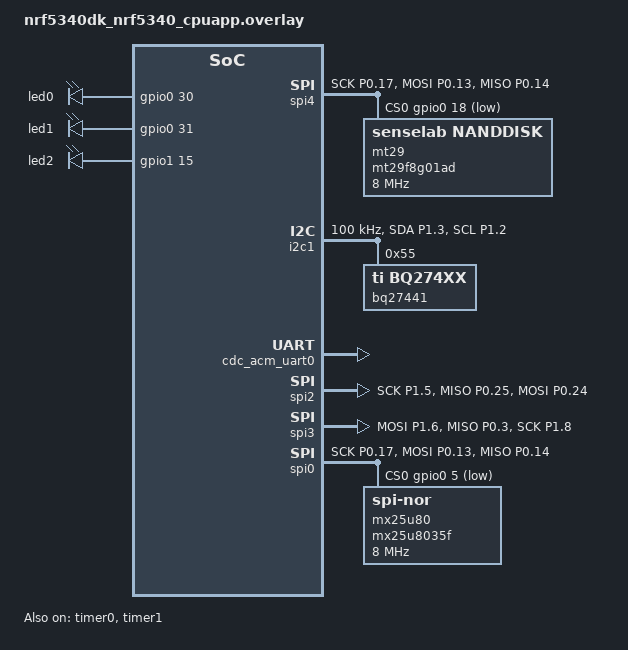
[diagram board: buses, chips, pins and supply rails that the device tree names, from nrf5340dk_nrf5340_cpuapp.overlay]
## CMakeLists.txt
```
# SPDX-License-Identifier: Apache-2.0

# This is a general purpose project created from MotionSenseHRV to be used for data collection.

# Ohio State SENSE LAB
cmake_minimum_required(VERSION 3.20.0)

list(APPEND ZEPHYR_EXTRA_MODULES ${CMAKE_CURRENT_SOURCE_DIR}/src/drivers)


find_package(Zephyr REQUIRED HINTS $ENV{ZEPHYR_BASE})
project(MotionSenseHrv)

set(CMAKE_OBJECT_PATH_MAX 380)
if((NOT CONFIG_DISK_DRIVER_FLASH) AND
   (NOT CONFIG_DISK_DRIVER_RAM) AND
   (NOT CONFIG_DISK_DRIVER_SDMMC))
	message(WARNING "No disk access settings detected." )
endif()
#
#we previously used GLOB_RECURSE, but that was deprecated since we want to have control over what code is included.
FILE(GLOB_RECURSE app_sources src/*.cc)
FILE(GLOB c_app_sources src/*.c)

target_compile_options(app PRIVATE -Wno-unused-function)
#eventually, remove the induvidual file in target_sources, and just refactor to move zephyr filesystem out.
#OR Keep Global Recuse on.
# also move the drivers over to a seperate folder.
target_sources(app PRIVATE ${app_sources} 
${c_app_sources} )

#if(CONFIG_BUILD_WITH_TFM)
#  target_include_directories(app PRIVATE
#    $<TARGET_PROPERTY:tfm,TFM_BINARY_DIR>/install/interface/include
#  )
#endif()
```

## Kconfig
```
# Copyright (c) 2019-2020 Nordic Semiconductor ASA
# SPDX-License-Identifier: Apache-2.0

config APP_WIPE_STORAGE
	bool "Option to clear the flash area before mounting"
	help
	  Use this to force an existing file system to be created.

choice
	prompt "Storage and file system type used by the application"
	default APP_MSC_STORAGE_NONE
	help
	  Specify the type of storage and file system.

config APP_MSC_STORAGE_NONE
	bool "Use RAM disk as block device"
	imply DISK_DRIVER_RAM

config APP_MSC_STORAGE_RAM
	bool "Use RAM disk and FAT file system"
	imply DISK_DRIVER_RAM
	imply FILE_SYSTEM
	imply FAT_FILESYSTEM_ELM

config APP_MSC_STORAGE_FLASH_FATFS
	bool "Use FLASH disk and FAT file system"
	imply DISK_DRIVER_FLASH
	imply FILE_SYSTEM
	imply FAT_FILESYSTEM_ELM

config APP_MSC_STORAGE_FLASH_LITTLEFS
	bool "Use FLASH disk and LittleFS"
	imply DISK_DRIVER_FLASH
	imply FILE_SYSTEM
	imply FILE_SYSTEM_LITTLEFS

config APP_MSC_STORAGE_SDCARD
	bool "Use SDHC and FAT file system"
	imply DISK_DRIVER_SDMMC
	imply FILE_SYSTEM
	imply FAT_FILESYSTEM_ELM

endchoice


config MASS_STORAGE_DISK_NAME
	default "MX25R64" if DISK_DRIVER_FLASH
	default "RAM" if DISK_DRIVER_RAM
	default "SD" if DISK_DRIVER_SDMMC

if DISK_DRIVER_FLASH

config FLASH_MAP
	default y

config FLASH_PAGE_LAYOUT
	default y

config FLASH_LOG_LEVEL
	default 3

if NORDIC_QSPI_NOR

config NORDIC_QSPI_NOR_FLASH_LAYOUT_PAGE_SIZE
	default 4096

endif # NORDIC_QSPI_NOR

endif # DISK_DRIVER_FLASH

config MSENSE3_BLUETOOTH_DATA_UPDATES
	bool "Use MotionSenseHRV3Updates"
	default n
	help 
		Enables the Previous MSense3 mode of data collection, which starts collection as soon as the device connects to usb
		and sends data all through bluetooth
		


menuconfig COLLECTION_REQUIRES_DATE_ID
	bool "Allows sensor collection only if the date time and id characteristics have been filled out by the central."
	default n


config USB_ALWAYS_ON
	bool "whether the usb mass storage driver is on during bluetooth collection"
	default n
	help
		Normally, when data collection starts the USB module turns off, preventing the user from being able to read the drive 
		while data collection is taking place. This KConfig disables this, allowing users to always see logs

config USB_WRITABLE
	bool "whether one can write or modify files via USB"
	default n
	help 
		If the device is plugged in via USB and this KConfig is not set, Users will not be able to create or write new files
		(they can still read them).
		for this to truly work, we must be using a file system driver that supports reading and writing, 
		like flash area (NOR) or dhara (NAND)

config MSENSE_FS_ENCRYPTION
	bool "Encrypt file system data with hardware AES (CryptoCell-312, src/fs_crypt.c)"
	default n
	# AES on the CryptoCell-312 through PSA. Bluetooth keeps using TinyCrypt.
	select NRF_SECURITY
	select MBEDTLS_PSA_CRYPTO_C
	select PSA_CRYPTO_DRIVER_CC3XX
	select PSA_WANT_KEY_TYPE_AES
	select PSA_WANT_AES_KEY_SIZE_128
	select PSA_WANT_ALG_ECB_NO_PADDING
	# psa_crypto_init() also brings up the random number generator
	select PSA_WANT_GENERATE_RANDOM
	select MBEDTLS_ENABLE_HEAP
	help
		Builds src/fs_crypt.c, loads the file system encryption key and self-tests the
		crypto hardware at boot. Off by default while the encryption work is in
		progress, so none of the crypto stack is built unless this is set.

# select can't turn a symbol off or set a number, so these two only change the
# default when encryption is on. This file is read before Zephyr's Kconfig, so its
# defaults take priority; prj.conf can still override them.
config PSA_CRYPTO_DRIVER_OBERON
	default n if MSENSE_FS_ENCRYPTION

config MBEDTLS_HEAP_SIZE
	default 8192 if MSENSE_FS_ENCRYPTION

config MSENSE_USB_SECURITY
	bool "Configures USB security mode, which requires a password in order to enable to usb behavior. Not Currently Implemented."
	default n

config LOG_BACKEND_FS_BUFFER
    bool "file buffered log backend"
    depends on LOG
    select LOG_OUTPUT
    help
      When enabled, the double buffered filesystem backend (normally for ppg and accel) will be used for logging.


config LOG_LEVEL_IMU_COLLECTION
	int "level at which data from imu is printed in logs"
	default 3

config LOG_LEVEL_PPG_COLLECTION
	int "level at which data from ppg is printed in logs"
	default 3

source "Kconfig.zephyr"
```

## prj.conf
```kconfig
#CONFIG_NCS_SAMPLES_DEFAULTS=y

CONFIG_STDOUT_CONSOLE=y

# deprecated:
#CONFIG_CPLUSPLUS=y
#CONFIG_STD_CPP11=y
#CONFIG_NEWLIB_LIBC=y
#CONFIG_LIB_CPLUSPLUS=y

#CONFIG_DEBUG=n
CONFIG_DEBUG_OPTIMIZATIONS=n
#CONFIG_SIZE_OPTIMIZATIONS=y
#CONFIG_SPEED_OPTIMIZATIONS=y

# These KConfigs will dump the entire core into the logs. Useful for debugging a crash.
#CONFIG_DEBUG_COREDUMP=y
#CONFIG_DEBUG_COREDUMP_BACKEND_LOGGING=y
CONFIG_DEBUG_INFO=y
CONFIG_EXCEPTION_STACK_TRACE=y
CONFIG_RESET_ON_FATAL_ERROR=y

#Log config
CONFIG_LOG=y
CONFIG_LOG_DEFAULT_LEVEL=2
# LOG_MODE_MIMIMAL Processes logs in the thread that they are in.
CONFIG_LOG_MODE_MINIMAL=n
#CONFIG_LOG_MODE_DEFERRED=n
#CONFIG_LOG_MODE_IMMEDIATE=n
# this makes prink messages go through the LOG system.
CONFIG_LOG_PRINTK=y
# typically logging is seperate from printk, so this just let's printk output go to console.
CONFIG_PRINTK=y
CONFIG_LOG_MAX_LEVEL=4
# Additional Logging Settings
# this makes the logs have color according to their condition in the serial monitor or terminal.
# so, errors are red, and warnings are yellow.
# in the filesystem, you will need to have an ascii color text processor, otherwise you will see unknown characters and no colors.
CONFIG_LOG_BACKEND_SHOW_COLOR=y
# if we using the deffered log proessing, we have these options avalible:
# LOG_MODE_DEFFERED auto turns this on. deffered mode makes the logs go to a seperate thread instead, which we currently use.
CONFIG_LOG_PROCESS_THREAD=y
#CONFIG_LOG_PROCESS_THREAD_CUSTOM_PRIORITY=
# we need this since our usb takes a few seconds to initialize, and so we miss messages if we don't do a late log startup.
CONFIG_LOG_PROCESS_THREAD_STARTUP_DELAY_MS=8000
#CONFIG_LOG_PROCESS_TRIGGER_THRESHOLD=0
# THREAD_SLEEP_MS is how long the logging thread will periodically sleep after processing messages. 
CONFIG_LOG_PROCESS_THREAD_SLEEP_MS=4000
CONFIG_LOG_PROCESS_THREAD_STACK_SIZE=4096
CONFIG_LOG_BUFFER_SIZE=20000

# Custom Config we created to allow the usb to remain on even when data is collecting, so that we can see the logs. Without this we can't 
#see logs through USB.
CONFIG_USB_ALWAYS_ON=y

CONFIG_NRFX_RTC0=y

# The thread analyser is a cool logging tool that shows how full stacks are for running threads. It can be used to detect stack overflow errors.
CONFIG_THREAD_ANALYZER=y
CONFIG_THREAD_ANALYZER_USE_LOG=y
CONFIG_THREAD_ANALYZER_AUTO=y
CONFIG_THREAD_ANALYZER_AUTO_INTERVAL=10
CONFIG_THREAD_NAME=y
CONFIG_THREAD_MONITOR=y

# when working with the MSense Devices, the only debugging tool we have is the SEGGER_RTT and USB debug output. 
# We have a USB, but we have to set it up via CDC UART (CDC is a usb communication protocol) on device tree
# at the moment, it appears Segger RTT is required even for UART Console output.
CONFIG_USE_SEGGER_RTT=y
# LOG_BACKEND makes the logging avalible, while the CONSOLE option makes command output
CONFIG_LOG_BACKEND_RTT=y
CONFIG_RTT_CONSOLE=n
# Shell also allows commands to be sent
CONFIG_SHELL=n

#Outputs log through usb
CONFIG_LOG_BACKEND_UART=y
# same here, UART_CONSOLE allows commands to be sent while LOG_BACKEND_UART allows log messages to go out.
CONFIG_UART_CONSOLE=y

#CONFIG_RAM_CONSOLE=n

#CONFIG_LOG_BACKEND_FS=n
#CONFIG_LOG_BACKEND_FS_OUTPUT_CUSTOM=y

# Outputs log through USB
CONFIG_LOG_BACKEND_BLE=y
# Custom MSense File Uploading that uses the double buffer system (zephyrfilesystem.c) to output
CONFIG_LOG_BACKEND_FS_BUFFER=y

# Our MSense boards don't have a DCDC on them. This is necessary for the boards to function, or else they will brick!
#CONFIG_BOARD_ENABLE_DCDC_APP=n
#CONFIG_BOARD_ENABLE_DCDC_NET=n

# Clock Control. This KConfig Controls whether we use a Crystal (XTAL) or RC Oscilator.
CONFIG_CLOCK_CONTROL_NRF_K32SRC_RC=n
CONFIG_CLOCK_CONTROL_NRF_K32SRC_RC_CALIBRATION=n

CONFIG_CLOCK_CONTROL_NRF_K32SRC_XTAL=y

# LFXO bypass is for a rail-to-rail external clock source. This board uses
# the standard LFXO pin routing, so leave bypass disabled.
CONFIG_SOC_LFXO_BYPASS=n
CONFIG_SOC_LFXO_CAP_INT_9PF=y
CONFIG_SOC_HFXO_CAP_INTERNAL=y
CONFIG_SOC_HFXO_CAP_INT_VALUE_X2=25


#Gpio Config
CONFIG_GPIO=y

# On the 5340 dev kit, pins 0.02 and 0.03 are configured as pins for an NFC antenna. Since we are using those pins for ppg,
# we need to use this KConfig to make them behave like normal. Apparently setting it in device tree is not enough, we have to use this KConfig
CONFIG_NFCT_PINS_AS_GPIOS=y

# SPI Config
CONFIG_SPI=y
# we don't have any qspi periperals at the moment, everything is spi.
#CONFIG_NRFX_QSPI=y

#I2C config
CONFIG_I2C=y

# Generic Sensor Drivers that includes the battery monitor sensor.
CONFIG_SENSOR=y



# CMSIS config, which is a DSP and Math library
CONFIG_CMSIS_DSP=y
CONFIG_CMSIS_DSP_BASICMATH=y
CONFIG_CMSIS_DSP_COMPLEXMATH=n
CONFIG_CMSIS_DSP_CONTROLLER=n
CONFIG_CMSIS_DSP_DISTANCE=n
CONFIG_CMSIS_DSP_FASTMATH=y
CONFIG_CMSIS_DSP_FILTERING=y
CONFIG_CMSIS_DSP_MATRIX=y
CONFIG_CMSIS_DSP_STATISTICS=y
CONFIG_CMSIS_DSP_TRANSFORM=n
CONFIG_CMSIS_DSP_SUPPORT=y

# timer config
CONFIG_NRFX_TIMER0=y
CONFIG_NRFX_TIMER1=y

#FPU config
CONFIG_FPU=y
CONFIG_FP_HARDABI=y


# Library for buttons and LEDs
CONFIG_DK_LIBRARY=y



# Enable bluetooth and bonding
CONFIG_BT=y

#CONFIG_BT_BONDABLE=y
#CONFIG_BT_BONDING_REQUIRED=y


CONFIG_BT_DEVICE_APPEARANCE=833

CONFIG_BT_MAX_CONN=1



CONFIG_BT_PERIPHERAL=y
#CONFIG_BT_GAP_PERIPHERAL_PREF_PARAMS=y
# in BLE the host typically sets the minimum and maximum connection interval with which packets must be sent. 
# however, the client can still request preferred parameters and the host can decide if it wants to accept them.
CONFIG_BT_PERIPHERAL_PREF_MAX_INT=48
CONFIG_BT_PERIPHERAL_PREF_MIN_INT=24
CONFIG_BT_PERIPHERAL_PREF_LATENCY=3
# Units are 10 ms: 800 = 8 s, compliant with current Apple 6-18 s guidance (ADG section 55.6).
CONFIG_BT_PERIPHERAL_PREF_TIMEOUT=800
CONFIG_BT_DEVICE_NAME="MSense4PPG-"
CONFIG_BT_DEVICE_NAME_DYNAMIC=y
CONFIG_BT_DEVICE_NAME_MAX=16
CONFIG_BT_DEVICE_NAME_GATT_WRITABLE=n
CONFIG_HWINFO=y
CONFIG_CRC=y



#CONFIG_BT_CTLR=y
#CONFIG_BT_CTLR_TX_PWR_ANTENNA=-8
#CONFIG_BT_CTLR_TX_PWR_MINUS_40=y

# for now, we don't use security, but we can re-enable if we want it.
CONFIG_BT_SMP=n

# Enable device information service for bluetooth
CONFIG_BT_DIS=y
CONFIG_BT_DIS_MANUF="SenseLab"
CONFIG_BT_DIS_PNP=n
CONFIG_BT_DIS_MODEL="5.3.0 Utah Prod"
CONFIG_BT_DIS_SETTINGS=n
CONFIG_BT_MAX_PAIRED=1

# Enable Battery service settings
CONFIG_BT_BAS=y



 

# I belive we do this because the flash reset function has a lot of stack usage.
CONFIG_BT_RX_STACK_SIZE=8192



#DFU/FOTA settings
CONFIG_BOOTLOADER_MCUBOOT=y

CONFIG_NCS_SAMPLE_MCUMGR_BT_OTA_DFU=y
#CONFIG_MCUBOOT_GENERATE_CONFIRMED_IMAGE=y


#CONFIG_MCUMGR_LOG_LEVEL_DBG=n
#CONFIG_MCUMGR_SMP_BT_AUTHEN=n

# Where the bad block table is persisted. The NOR backend keeps it on the external
# NOR next to the file table, which needs no extra partition, so Partition Manager
# produces the same map as devices already in the field and they can still take a
# DFU update. Selecting RAW_NAND_BAD_BLOCK_STORAGE_SETTINGS instead moves it to the
# settings subsystem, which allocates a settings_storage partition and changes the
# map, breaking DFU for those devices.
CONFIG_RAW_NAND_BAD_BLOCK_STORAGE_NOR=y

# Only needed by the settings backend above. Enabling SETTINGS_NVS is what makes
# Partition Manager carve out settings_storage.
CONFIG_SETTINGS=n
#CONFIG_SETTINGS_NVS=y
#CONFIG_NVS=y

#CONFIG_SETTINGS_NVS_SECTOR_COUNT=8
# The default 0x2000 only gives NVS two sectors, one of which is always reserved
# for garbage collection. 0x4000 gives it four and matches FPROTECT_BLOCK_SIZE on
# the nRF5340, which the partition has to start on anyway, so nothing is wasted
# on alignment padding.
#CONFIG_BT_SETTINGS=y
#CONFIG_SETTINGS_RUNTIME=y

#CONFIG_SETTINGS_NONE=y

# not sure what this is
#CONFIG_MPU_ALLOW_FLASH_WRITE=y



CONFIG_TEST_RANDOM_GENERATOR=y
CONFIG_TIMER_RANDOM_GENERATOR=y


# Flash Driver Config
# CRC library, used to sanity check the file table stored on the NOR
CONFIG_CRC=y
CONFIG_SPI_NOR=y
CONFIG_FLASH=y
# QSPI Driver for QSPI Nor Flash. No longer used as we use NAND for storage.
CONFIG_NORDIC_QSPI_NOR=n
CONFIG_FLASH_MAP=y
CONFIG_FLASH_PAGE_LAYOUT=y
CONFIG_FLASH_LOG_LEVEL_INF=y
#CONFIG_SPI_NOR_FLASH_LAYOUT_PAGE_SIZE=4096

# Partition Manager Config

CONFIG_PM_EXTERNAL_FLASH_MCUBOOT_SECONDARY=n

# Disk Driver Config
CONFIG_DISK_DRIVER_FLASH=n
CONFIG_DISK_DRIVER_RAM=n
CONFIG_DISK_DRIVER_RAW_NAND=y
CONFIG_DISK_DRIVER_DHARA=n

CONFIG_RAW_NAND_BAD_BLOCK_SAVING=y
CONFIG_RAW_NAND_BAD_BLOCK_SIMULATION=n
# File System Config
CONFIG_FILE_SYSTEM=y
# needed because of our BT DFU external flash image which forces us to use partition manager.
CONFIG_PM_OVERRIDE_EXTERNAL_DRIVER_CHECK=y
CONFIG_MASS_STORAGE_DISK_NAME="SD"
#CONFIG_FILE_SYSTEM_LITTLEFS=y
# ELM Chan's fat filesystem library
CONFIG_FAT_FILESYSTEM_ELM=y
# we implement this dynamically by remounting the file system as read only.
CONFIG_FS_FATFS_READ_ONLY=n

# below config is necessary because this determines the buffer fatfs internally uses to store reads which we do at a size of 4096
CONFIG_FS_FATFS_MAX_SS=4096
CONFIG_FS_FATFS_EXFAT=n
CONFIG_FS_FATFS_MAX_ROOT_ENTRIES=4096
CONFIG_FS_FATFS_LFN=y

# we no longer use little fs since there is no built in computer file system support on USB mass.
#CONFIG_FS_LITTLEFS_CACHE_SIZE=128
#CONFIG_FS_LITTLEFS_READ_SIZE=16
#CONFIG_FS_LITTLEFS_PROG_SIZE=16




#USB related configs
CONFIG_USB_DEVICE_STACK=y
CONFIG_USB_DEVICE_PRODUCT="MSense4 USB Mass"
CONFIG_USB_DEVICE_PID=0x0008
CONFIG_USB_MASS_STORAGE=y

CONFIG_USB_MAX_POWER=100
CONFIG_USB_DEVICE_LOG_LEVEL_INF=y
# this log handles where the usb mass throws errors.
CONFIG_USB_MASS_STORAGE_LOG_LEVEL_ERR=y

CONFIG_USB_DEVICE_INITIALIZE_AT_BOOT=n
CONFIG_MASS_STORAGE_STACK_SIZE=4096


# Previous method of data gathering, where data from sensors is sent through bluetooth instead of the file system.
CONFIG_MSENSE3_BLUETOOTH_DATA_UPDATES=n

CONFIG_MSENSE_USB_SECURITY=n

# IMU and PPG logs
CONFIG_LOG_LEVEL_IMU_COLLECTION=3
CONFIG_LOG_LEVEL_PPG_COLLECTION=3


# General System Memory and stack Configs
CONFIG_SYSTEM_WORKQUEUE_STACK_SIZE=20192
CONFIG_SYSTEM_WORKQUEUE_PRIORITY=-5
#CONFIG_SYSTEM_WORKQUEUE_NO_YIELD=y

CONFIG_HEAP_MEM_POOL_SIZE=5384
CONFIG_MAIN_STACK_SIZE=20192

# File system encryption (src/fs_crypt.c). Turning this on pulls in the PSA crypto
# options it needs (see MSENSE_FS_ENCRYPTION in Kconfig); off while it is in progress.
CONFIG_MSENSE_FS_ENCRYPTION=n
```

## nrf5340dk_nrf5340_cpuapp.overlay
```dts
// press Ctrl+Space to bring up the completion menu and view the available nodes.

// You can also use the buttons in the sidebar to perform actions on nodes.
// Actions currently available include:

// * Enabling / disabling the node
// * Adding the bus to a bus
// * Removing the node
// * Connecting ADC channels

// For more help, browse the DeviceTree documentation at https://docs.zephyrproject.org/latest/guides/dts/index.html
// You can also visit the nRF DeviceTree extension documentation at https://nrfconnect.github.io/vscode-nrf-connect/devicetree/nrfdevicetree.html


/* Begin dk trim section, that removes all dev kit specific nodes. */


&spi1 {
    status = "disabled";
};

&spi4 {
	status = "disabled";
};

&qspi {
	status = "disabled";
};



&uart0 {
	status = "okay";
};

&i2c1 {
	status = "disabled";
};

&pwm0 {
	status = "disabled";
};


&led0 {
    status = "okay";
	gpios = <&gpio0 30 GPIO_ACTIVE_HIGH>;
};


&led1 {
    status = "okay";
    gpios = <&gpio0 31 GPIO_ACTIVE_HIGH>;
};

&led2 {
    status = "okay";
	gpios = <&gpio1 15 GPIO_ACTIVE_HIGH>;
};



&led3 {
    status = "disabled";
};



&button0 {
    status = "disabled";
};

&button1 {
    status = "disabled";
};

&button2 {
    status = "disabled";
};

&button3 {
    status = "disabled";
};

&gpio_fwd {
	status = "okay";
};

/* End dev kit trim section */


&timer0 {
    status = "okay";
};

&timer1 {
    status = "okay";
};



&arduino_adc {
    io-channel-map = <0 &adc 0>, <1 &adc 1>, <2 &adc 2>, <3 &adc 3>, <4 &adc 4>, <5 &adc 5>;
};


/ {
    aliases {
        customspi = &spi1;
		spi-flash0 = &mt29;
		spi-flash1 = &mx25u80;
    };
};


/ {
	chosen {
	
		//nordic,pm-ext-flash = &mt29;
		zephyr,console = &cdc_acm_uart0;
        zephyr,shell-uart = &cdc_acm_uart0;
		
		};
	};
	

///delete-node/ &storage_partition;


//uart cannot also be in operation with spi0, however, this means we have to use segger RTT, because uart is used for console output
&uart0 {
	status = "disabled";
};

 
&zephyr_udc0 {
    cdc_acm_uart0: cdc_acm_uart0 {
        compatible = "zephyr,cdc-acm-uart";
    };
};

&spi2 {
compatible = "nordic,nrf-spim";
	status = "okay";
	cs-gpios = <&gpio0 26 GPIO_ACTIVE_LOW>;
	pinctrl-0 = <&spi1_default>;
	pinctrl-1 = <&spi1_sleep>;
	pinctrl-names = "default", "sleep";

};

// We need to disable i2c1, since we are already using spi1 and it is no longer needed (can't have 2 devices on the same unit).
&i2c1 {
	compatible = "nordic,nrf-twim";
	status = "okay";

	clock-frequency = <I2C_BITRATE_STANDARD>;

	pinctrl-0 = <&battery_default>;
	pinctrl-1 = <&battery_sleep>;
	pinctrl-names = "default", "sleep";
	bq27441@55 {
		compatible = "ti,bq274xx";
        reg = <0x55>;
        design-voltage = <3700>;
        design-capacity = <300>;
        taper-current = <30>;
        terminate-voltage = <3000>;
	};
};



/* 
&i2c0 {
	status = "okay";
	compatible = "nordic,nrf-twim";
	pinctrl-0 = < &i2c1_default>;
	pinctrl-1 = <&i2c1_sleep>;
	pinctrl-names = "default", "sleep";
};
*/


&spi3{
	compatible = "nordic,nrf-spim";
	status = "okay";
	cs-gpios = <&gpio1 9 GPIO_ACTIVE_LOW>;
	pinctrl-0 = <&ppg_default>;
	pinctrl-1 = <&ppg_sleep>;
	pinctrl-names = "default", "sleep";
};


//External Flash, MX25 NOR 

&spi0 {
	status = "okay";
	pinctrl-0 = <&spi_flash_default>;
	pinctrl-1 = <&spi_flash_sleep>;
	pinctrl-names = "default", "sleep";
	cs-gpios = <&gpio0 5 GPIO_ACTIVE_LOW>;
	mx25u80: mx25u8035f@0 {
		compatible = "jedec,spi-nor";
		// size needs to be in bits for nor
		//size = <1073725440>;
		size = <8388608>;
		reg = <0>;
		spi-max-frequency = <8000000>;
		jedec-id = [c2 25 34];
		status = "okay";
	};

};


// External Flash, MT29 NAND

&spi4 {
	status = "okay";
	pinctrl-0 = < &spi_flash_default>;
	pinctrl-1 = <&spi_flash_sleep>;
	pinctrl-names = "default", "sleep";
	cs-gpios = <&gpio0 18 GPIO_ACTIVE_LOW>, <&gpio0 4 GPIO_ACTIVE_LOW>, <&gpio0 21 GPIO_ACTIVE_LOW>, <&gpio0 19 GPIO_ACTIVE_LOW>;
	mt29: mt29f8g01ad@0 {
		compatible = "senselab,nanddisk";
		// size parameter needs to be in bytes
		// 4294901760 bytes is aproximately 4 GB. Updated from 2147450880 bytes (1.99 GB)
		size = <4294901760>;
		reg = <0>;
		spi-max-frequency = <8000000>;
		jedec-id = [ff 2c 47];
		status = "okay";
	};

};






/* 
&qspi {
	status = "okay";
	pinctrl-0 = <&qspi_default>;
	pinctrl-1 = <&qspi_sleep>;
	pinctrl-names = "default", "sleep";
	mx66u: mx66u2g45g@0 {
		compatible = "nordic,qspi-nor";
		//compatible = "vnd,customflash";
		//compatible = "senselab,qspinor";
	reg = <0>;
	//MX25R64 supports only pp and pp4io
	writeoc = "pp4io";
	//MX25R64 supports all readoc options
	readoc = "read4io";
	sck-frequency = <8000000>;
	jedec-id = [c2 25 3c];
	sfdp-bfp = [
		e5 20 f1 ff  ff ff ff 03  44 eb 08 6b  08 3b 04 bb
		ee ff ff ff  ff ff 00 ff  ff ff 00 ff  0c 20 0f 52
		10 d8 00 ff  23 72 f5 00  82 ed 04 cc  44 83 68 44
		30 b0 30 b0  f7 c4 d5 5c  00 be 29 ff  f0 d0 ff ff
	];
	size = <67108864>;
	has-dpd;
	t-enter-dpd = <10000>;
	t-exit-dpd = <35000>;
	};
};
*/

&pinctrl {
	//spi 1, imu sensor
    spi1_default: spi1_default {
		group1 {
			psels = <NRF_PSEL(SPIM_SCK, 1, 5)>,
				<NRF_PSEL(SPIM_MISO, 0, 25)>,
				<NRF_PSEL(SPIM_MOSI, 0, 24)>;
		};
	};

	spi1_sleep: spi1_sleep {
		group1 {
			psels = <NRF_PSEL(SPIM_SCK, 1, 5)>,
				<NRF_PSEL(SPIM_MISO, 0, 25)>,
				<NRF_PSEL(SPIM_MOSI, 0, 24)>;
			low-power-enable;
		};
	};

	
	//spi 4, ppg sensor
	ppg_default: ppg_default {
		group1 {
			psels = <NRF_PSEL(SPIM_MOSI, 1, 6)>, <NRF_PSEL(SPIM_MISO, 0, 3)>, <NRF_PSEL(SPIM_SCK, 1, 8)>;
		};
	};

	ppg_sleep: ppg_sleep {
		group1{
			psels = <NRF_PSEL(SPIM_MOSI, 1, 6)>, <NRF_PSEL(SPIM_MISO, 0, 3)>, <NRF_PSEL(SPIM_SCK, 1, 8)>;
			low-power-enable;
		};
	};
	
	 
	//battery, on i2c0
	battery_default: battery_default {
		group1 {
			psels = <NRF_PSEL(TWIM_SDA, 1, 3)>,
				<NRF_PSEL(TWIM_SCL, 1, 2)>;
		};
	};

	battery_sleep: battery_sleep {
		group1 {
			psels = <NRF_PSEL(TWIM_SDA, 1, 3)>,
				<NRF_PSEL(TWIM_SCL, 1, 2)>;
			low-power-enable;
		};
	};

	
	spi_flash_default: spi_flash_default {
		group1 {
			psels = <NRF_PSEL(SPIM_SCK, 0, 17)>,
				<NRF_PSEL(SPIM_MOSI, 0, 13)>,
				<NRF_PSEL(SPIM_MISO, 0, 14)>;
				
		};
	};
	
	spi_flash_sleep: spi_flash_sleep {
		group1 {
			psels = <NRF_PSEL(SPIM_SCK, 0, 17)>,
			<NRF_PSEL(SPIM_MOSI, 0, 13)>,
			<NRF_PSEL(SPIM_MISO, 0, 14)>;
			low-power-enable;
		};
	};

};
```

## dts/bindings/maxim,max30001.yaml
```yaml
description: MAX30001 ECG analog front-end on SPI

compatible: "maxim,max30001"

include: ["spi-device.yaml"]

properties:
  reg:
    required: true

  intb-gpios:
    type: phandle-array
    description: MAX30001 INTB interrupt GPIO.

  intb2-gpios:
    type: phandle-array
    description: MAX30001 INTB2 interrupt GPIO.
```

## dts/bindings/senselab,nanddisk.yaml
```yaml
description: |
  Zephyr MMC disk node. A binding with this compatible present within an SD
  host controller device node indicates that an SDMMC disk is attached to that
  SD bus. This binding will enable that disk to be used with the disk driver
  API and any subsystems that utilize it.

compatible: "senselab,nanddisk"

include: ["spi-device.yaml", "jedec,spi-nor-common.yaml"]

properties:
  reg:
    required: true

  jedec-id:
    required: true

  size:
    type: int
    description: |
      The size of the flash in bytes.  
```

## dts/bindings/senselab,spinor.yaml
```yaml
description: |
  Zephyr MMC disk node. A binding with this compatible present within an SD
  host controller device node indicates that an SDMMC disk is attached to that
  SD bus. This binding will enable that disk to be used with the disk driver
  API and any subsystems that utilize it.

compatible: "senselab,spinor"

include: ["spi-device.yaml", "jedec,spi-nor-common.yaml"]

properties:
  reg:
    required: true

  jedec-id:
    required: true

  size:
    type: int
    description: |
      The size of the flash in bytes.  
```

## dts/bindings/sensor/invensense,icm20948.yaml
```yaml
# SPDX-License-Identifier: Apache-2.0

description: |
  ICM-20948 accelerometer-only SPI interface used by the MotionSense ECG PCB.

compatible: "invensense,icm20948"

include: spi-device.yaml

properties:
  int-gpios:
    type: phandle-array
    required: true
    description: |
      INT1 data-ready signal. The ICM-20948 is configured as active-high,
      push-pull, and pulse mode.

  fsync-gpios:
    type: phandle-array
    required: true
    description: |
      FSYNC input driven inactive by the host while frame synchronization is
      unused.
```

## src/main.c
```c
/*
 * Copyright (c) 2016 Intel Corporation
 *
 * SPDX-License-Identifier: Apache-2.0
 */

#include <zephyr/kernel.h>
#include <zephyr/devicetree.h>
#include <zephyr/drivers/gpio.h>
#include <zephyr/drivers/spi.h>
#include <zephyr/drivers/i2c.h>
#include <zephyr/drivers/sensor.h>
#include "drivers/nand/nand_disk.h"
#include <nrfx.h>
#include <hal/nrf_power.h>
#include <hal/nrf_usbreg.h>
#include <nrfx_timer.h>
#include <nrfx_uarte.h>
#include <zephyr/logging/log.h>
#include <zephyr/usb/usb_device.h>
#include "batterymonitordt.h"
#include "ppgSensor.h"
#include "imuSensor.h"
#include "common.h"
#include "BLEService.h"
#include "device_identity.h"
#ifdef CONFIG_MSENSE_FS_ENCRYPTION
#include "fs_crypt_key.h"
#endif
#include "zephyrfilesystem.h"
#include <zephyr/shell/shell.h>
#include <zephyr/bluetooth/bluetooth.h>
#include <zephyr/bluetooth/hci.h>
#include <zephyr/bluetooth/uuid.h>
#include <string.h>




LOG_MODULE_REGISTER(main, 3);



/* 1000 msec = 1 sec */
#define SLEEP_TIME_MS 6000

/* The devicetree node identifier for the "led0" alias. */
#define LED_NODE DT_ALIAS(led0)
#define LED1_NODE DT_ALIAS(led1)
#define PPG_POWER_NODE DT_ALIAS(led2) 

// define our red and green leds
#define LED_PIN DT_GPIO_PIN(LED_NODE, gpios)
#define LED1_PIN DT_GPIO_PIN(LED1_NODE, gpios)

#define LED_FLAGS DT_GPIO_FLAGS(LED0_NODE, gpios)



#define PPG_POWER_PIN DT_GPIO_PIN(PPG_POWER_NODE, gpios)
#define PPG_POWER_FLAGS DT_GPIO_FLAGS(PPG_POWER_NODE, gpios)

const struct device* gpio0_device;
const struct device* gpio1_device;


/* SPI Definitions */


/*
------------------------------------------------------------------------------------
SPI Mode    CPOL 	CPHA 	Clock Polarity  Clock Phase Used to
                                in Idle State 	Sample and/or Shift the Data
------------------------------------------------------------------------------------
0               0         0 	Logic low 	Data sampled on rising edge and
                                                shifted out on the falling edge
1               0         1 	Logic low 	Data sampled on the falling edge and
                                                shifted out on the rising edge
2               1         1 	Logic high 	Data sampled on the falling edge and
                                                shifted out on the rising edge
3               1         0 	Logic high 	Data sampled on the rising edge and
                                                shifted out on the falling edge
-------------------------------------------------------------------------------------
*/
// SPI Mode-3 IMU
struct spi_config spi_cfg_imu =
{
    .frequency = 4000000,
    .operation = SPI_WORD_SET(8) | SPI_TRANSFER_MSB |
                 SPI_MODE_CPOL | SPI_MODE_CPHA,
    .slave = 0,
    // this should work, but for some reason it doesn't. However, this might work without
    // the cs field anyway, apparently it is auto managed, so test first
    //.cs = SPI_CS_CONTROL_PTR_DT(DT_NODELABEL(spi2), 0)
    };


// SPI Mode-3 PPG
struct spi_config spi_cfg_ppg = {
    .frequency = 4000000,
    .operation = SPI_WORD_SET(8) | SPI_TRANSFER_MSB |
                 SPI_MODE_CPOL | SPI_MODE_CPHA,
    .slave = 0,
    /* only in version 2.5: .cs= {
  .delay = 0,
  .gpio = {.pin = 15, .dt_flags=GPIO_ACTIVE_LOW, }
  },
  */
};

// Now we define the cs pins

struct spi_cs_control imu_cs = {
    .delay = 0,
    .gpio = {.pin = 26, .dt_flags = GPIO_ACTIVE_LOW}};


struct spi_cs_control ppg_cs = {
    .delay = 0,
    .gpio = {
        .pin = 9,
        .dt_flags = GPIO_ACTIVE_LOW,
    }};




const struct device *spi_dev_ppg, *spi_dev_imu;
const struct device *i2c_dev;





#define DIS_FW_REV_STR CONFIG_BT_DIS_FW_REV_STR
#define DIS_FW_REV_STR_LEN (sizeof(DIS_FW_REV_STR))

#define DIS_HW_REV_STR CONFIG_BT_DIS_HW_REV_STR
#define DIS_HW_REV_STR_LEN (sizeof(DIS_HW_REV_STR))

#define DIS_MANUF CONFIG_BT_DIS_MANUF
#define DIS_MANUF_LEN (sizeof(DIS_MANUF))

#define DIS_MODEL CONFIG_BT_DIS_MODEL
#define DIS_MODEL_LEN (sizeof(DIS_MODEL))


static K_SEM_DEFINE(ble_init_ok, 0, 1);

uint32_t global_counter;

#define AD_FIELD_OVERHEAD 2U
#define AD_FLAGS_ENCODED_LEN (AD_FIELD_OVERHEAD + 1U)
#define AD_SERVICE_DATA_LEN (BT_UUID_SIZE_128 + MSENSE_DEVICE_ID_LEN)
#define AD_SERVICE_DATA_ENCODED_LEN (AD_FIELD_OVERHEAD + AD_SERVICE_DATA_LEN)
#define SCAN_RESPONSE_NAME_ENCODED_LEN (AD_FIELD_OVERHEAD + MSENSE_BLE_NAME_LEN)

static uint8_t advertising_service_data[AD_SERVICE_DATA_LEN] = {
    CONTROL_SERVICE_UUID,
};

static struct bt_data ad[] = {
    BT_DATA_BYTES(BT_DATA_FLAGS, (BT_LE_AD_GENERAL | BT_LE_AD_NO_BREDR)),
    BT_DATA(BT_DATA_SVC_DATA128, advertising_service_data,
            sizeof(advertising_service_data)),
};

static struct bt_data sd[] = {
    {
        .type = BT_DATA_NAME_COMPLETE,
        .data = NULL,
        .data_len = 0U,
    },
};

BUILD_ASSERT(MSENSE_DEVICE_ID_LEN == 8U, "Device ID must be 64 bits");
BUILD_ASSERT(MSENSE_BLE_NAME_LEN == 16U, "BLE name length changed unexpectedly");
BUILD_ASSERT(sizeof(advertising_service_data) == 24U,
             "Service data must contain UUID and device ID");
BUILD_ASSERT(AD_FLAGS_ENCODED_LEN + AD_SERVICE_DATA_ENCODED_LEN <=
             BT_GAP_ADV_MAX_ADV_DATA_LEN,
             "Primary advertising data exceeds the legacy limit");
BUILD_ASSERT(SCAN_RESPONSE_NAME_ENCODED_LEN <= BT_GAP_ADV_MAX_ADV_DATA_LEN,
             "Scan response name exceeds the legacy limit");

// Shell Commands for entering in the terminal, in case a bluetooth command is not avalible.
SHELL_CMD_REGISTER(reset, NULL, "Resets Device", NVIC_SystemReset);
SHELL_CMD_REGISTER(full_reset, NULL, "Resets Storage and Device", reset_device);





// Setting up the device information service
static int settings_runtime_load(void)
{

/*
  settings_runtime_set("bt/dis/model",
                       DIS_MODEL, DIS_MODEL_LEN);
  settings_runtime_set("bt/dis/manuf",
                       DIS_MANUF, DIS_MANUF_LEN);
*/
  return 0;
}


void usb_status_cb(enum usb_dc_status_code status, const uint8_t *param){
    
  LOG_INF("USB Status: %d", status);

  // CONNECTED/DISCONNECTED are raised on VBUS detect/remove, so update the charging bit right away
  // instead of waiting for the next battery_maintenance() pass.
  if (status == USB_DC_CONNECTED || status == USB_DC_DISCONNECTED){
    update_charging_state();
  }

}

static void write_uuid_file(void)
{
  bt_addr_le_t address = {0};
  size_t count = 1;
  char addr_str[BT_ADDR_LE_STR_LEN];
  int result;

  bt_id_get(&address, &count);
  bt_addr_le_to_str(&address, addr_str, sizeof(addr_str));

  result = write_ble_uuid(addr_str, bt_get_name(),
                          msense_device_identity_hex());
  if (result < 0) {
    LOG_ERR("Unable to write uuid.txt: %d", result);
  }
}


static void le_param_updated(struct bt_conn *conn, uint16_t interval, uint16_t latency, uint16_t timeout)
{
  struct bt_conn_info info;
  char addr[BT_ADDR_LE_STR_LEN];

  if (bt_conn_get_info(conn, &info))
    printk("Could not parse connection info\n");
  else
  {
    bt_addr_le_to_str(bt_conn_get_dst(conn), addr, sizeof(addr));
    printk("Connection parameters updated!	\n\
      Connected to: %s						\n\
      New Connection Interval: %u				\n\
      New Slave Latency: %u					\n\
      New Connection Supervisory Timeout: %u	\n",
           addr, info.le.interval, info.le.latency, info.le.timeout);
  }
}

static struct bt_conn_cb conn_callbacks = {
    .connected = connected,
    .disconnected = disconnected,
    //.le_param_req = le_param_req,
    .le_param_updated = le_param_updated};

static void bt_ready(int err)
{
  if (err)
  {
    printk("BLE init failed with error code %d\n", err);
    return;
  }
  else
    printk("BLE init success\n");

  #if CONFIG_BT_SETTINGS
    settings_load();
  #endif


  // Configure connection callbacks
  bt_conn_cb_register(&conn_callbacks);

  err = bt_set_name(msense_device_identity_name());
  if (err) {
    LOG_ERR("Unable to set generated BLE name: %d", err);
    return;
  }

  memcpy(&advertising_service_data[BT_UUID_SIZE_128],
         msense_device_identity_bytes(), MSENSE_DEVICE_ID_LEN);
  sd[0].data = msense_device_identity_name();
  sd[0].data_len = MSENSE_BLE_NAME_LEN;

  // Start advertising
  const struct bt_le_adv_param v = {
      .id = BT_ID_DEFAULT,
      .sid = 0,
      .secondary_max_skip = 0,
      .options = BT_LE_ADV_OPT_CONNECTABLE | BT_LE_ADV_OPT_USE_IDENTITY,
      .interval_min = BT_GAP_ADV_FAST_INT_MIN_2,
      .interval_max = BT_GAP_ADV_FAST_INT_MAX_2,
      .peer = NULL};

  // if this doesn't work we can use
  /* 
  static struct bt_le_adv_param *adv_param = BT_LE_ADV_PARAM((BT_LE_ADV_OPT_CONNECTABLE|BT_LE_ADV_OPT_USE_IDENTITY), 
                800, //Min Advertising Interval 500ms (800*0.625ms) 
                801, //Max Advertising Interval 500.625ms (801*0.625ms)
                NULL); // Set to NULL for undirected advertising
  */
  err = bt_le_adv_start(&v, ad, ARRAY_SIZE(ad), sd, ARRAY_SIZE(sd));
  if (err)
    printk("Advertising failed to start (err %d)\n", err);
  else
  {
    printk("Advertising started\n");
  }

  k_sem_give(&ble_init_ok);

  write_uuid_file();
  #ifndef CONFIG_DEBUG
  
    if (!security_lock){
      usb_enable(usb_status_cb);
    }
    //k_sleep(K_SECONDS(10));
    #if CONFIG_DISK_DRIVER_RAW_NAND
    set_read_only(true);
  #endif
  #endif
}

// Initialize BLE
static void ble_init(void)
{
  int err;

  
  err = bt_enable(bt_ready);
  if (err)
  {
    printk("BLE initialization failed\n");
  }

  //err = bt_id_create(BT_ADDR_LE_ANY, NULL);
  if (!err)
    printk("Bluetooth initialized\n");
  else
  {
    printk("BLE initialization did not complete in time\n");
  }
  if (err)
    printk("Bluetooth init failed (err %d)\n", err);
}

// Timer handler that periodically executes commands with a period,
// which is defined by the macro-variable TIMER_MS
static void spi_init(void)
{
  
  // device_get_binding is used for runtime aquisition of a device object. We can still use it but we have to be carefull to select the right names
  const char *const spiName_imu = "spi@9000";
  const char *const spiName_ppg = "spi@c000";

  spi_dev_imu = DEVICE_DT_GET(DT_NODELABEL(spi2)); 
  spi_dev_ppg = DEVICE_DT_GET(DT_NODELABEL(spi3));
  // device_get_binding(spiName_imu);
  //spi_dev_ppg = device_get_binding(spiName_ppg);

  if (!device_is_ready(gpio0_device))
  {
    printk("Could not get GPIO_0\n");
    return;
  }

  if (!device_is_ready(gpio1_device))
  {
    printk("Could not get GPIO_1\n");
    return;
  }
  if (spi_dev_imu == NULL || !device_is_ready(spi_dev_imu))
  {
    printk("Could not get %s \n", spiName_imu);
    return;
  }

  if (spi_dev_ppg == NULL || !device_is_ready(spi_dev_ppg))
  {
    printk("Could not get %s \n", spiName_ppg);
    return;
  }
  
  imu_cs.gpio.port = gpio0_device;
  ppg_cs.gpio.port = gpio1_device;
  
  
  spi_cfg_imu.cs = imu_cs;
  spi_cfg_ppg.cs = ppg_cs; // version 2.5: .gpio.port = gpio1_device;
  
}

void spi_verify_sensor_ids()
{
  
  if (device_is_ready(spi_dev_imu))
  {
    getIMUID();
  }
  else
  {
    LOG_WRN("IMU not ready, setup avoided");
  }
  
  k_sleep(K_SECONDS(1));

  if (device_is_ready(spi_dev_ppg))
  {
    read_ppg_chip_id();
  }
  else
  {
    LOG_WRN("ppg not ready, setup was avoided");
  }
}

static void i2c_init(void)
{

  printk("The I2C Init started\n");
  i2c_dev = DEVICE_DT_GET(DT_NODELABEL(i2c1));
  if (!device_is_ready(i2c_dev))
  {
    printk("Binding failed to i2c.");
    return;
  }
  // Previously we used to set values, but these are now set by device tree.
}



#define WORKQUEUE_PRIORITY 8
#define WORKQUEUE_STACK_SIZE 20048
K_THREAD_STACK_DEFINE(my_stack_area, WORKQUEUE_STACK_SIZE);



void battery_maintenance()
{
  const struct device *const dev = DEVICE_DT_GET_ONE(ti_bq274xx);
  dt_update_battery(dev, true);
  
  //battery_lvl = bt_bas_get_battery_level();
  #ifndef CONFIG_MSENSE3_BLUETOOTH_DATA_UPDATES
  if (battery_level < 5){
    // if this is our first time
    if (!battery_low){
      battery_low = true;
      LOG_WRN("battery low, turning off file logs and data collection.");
      LOG_INF("logs and data collection will resume once battery is sufficiently charged (>15 percent)");
    }   
  }
  else if (battery_level > 15){
    if (battery_low){
    LOG_INF("resuming log after battery improved");
    }
    battery_low = false;
  } 

  if (collecting_data || host_wants_collection){
        if (battery_low && collecting_data){
            
            start_stop_device_collection(false);
        }
        else if (!battery_low && host_wants_collection && !collecting_data){

            start_stop_device_collection(true);
            
        }
  }
  #endif
    
}



void blink_led(gpio_pin_t pin){
  gpio_pin_set(gpio0_device, pin, 1);
  k_sleep(K_MSEC(200));
  gpio_pin_set(gpio0_device, pin, 0);
}



void storage_clear_led(){
  gpio_pin_set(gpio0_device, LED1_PIN, 1);
}

/* GPREGRET[1] survives a software reset. Only bit 0 belongs to ship mode. */
#define SHIP_MODE_GPREGRET 1
#define SHIP_MODE_FLAG BIT(0)

void ppg_enter_ship_mode(void)
{
  ppg_sleep();
  motion_sleep();
  uint32_t flags = nrf_power_gpregret_get(NRF_POWER, SHIP_MODE_GPREGRET);
  nrf_power_gpregret_set(NRF_POWER, SHIP_MODE_GPREGRET, flags | SHIP_MODE_FLAG);
  NVIC_SystemReset();
}

static void wait_in_ship_mode(void)
{
  uint32_t flags = nrf_power_gpregret_get(NRF_POWER, SHIP_MODE_GPREGRET);
  if (!(flags & SHIP_MODE_FLAG)) {
    return;
  }

  static const struct gpio_dt_spec outputs[] = {
    GPIO_DT_SPEC_GET(LED_NODE, gpios),
    GPIO_DT_SPEC_GET(LED1_NODE, gpios),
    GPIO_DT_SPEC_GET(PPG_POWER_NODE, gpios),
  };
  for (size_t i = 0; i < ARRAY_SIZE(outputs); i++) {
    gpio_pin_configure_dt(&outputs[i], GPIO_OUTPUT_INACTIVE);
  }

  /* USBDETECTED latches an attachment even if VBUS drops between checks. */
  while (!vbus_present() &&
         !nrf_usbreg_event_check(NRF_USBREGULATOR, NRF_USBREG_EVENT_USBDETECTED)) {
    k_sleep(K_SECONDS(1));
  }
  nrf_power_gpregret_set(NRF_POWER, SHIP_MODE_GPREGRET, flags & ~SHIP_MODE_FLAG);
  NVIC_SystemReset();
}

int main(void)
{
	int identity_err;

  wait_in_ship_mode();
  printk("Starting Application... \n");
  LOG_INF("Starting Logging...\n");

	identity_err = msense_device_identity_init();
	if (identity_err) {
		LOG_ERR("Unable to initialize factory device identity: %d", identity_err);
	}

#ifdef CONFIG_MSENSE_FS_ENCRYPTION
	// Load the file system encryption key and self-test the crypto hardware.
	// The disk driver does not encrypt yet, so a failure here is only logged.
	int crypt_err = fs_crypt_init(fs_crypt_dev_data_key, fs_crypt_dev_tweak_key);
	if (crypt_err) {
		LOG_ERR("fs_crypt init failed: %d", crypt_err);
	} else {
		LOG_INF("fs_crypt ready, hardware AES self-test passed");
	}
#endif
  
  
  
  k_sleep(K_SECONDS(1));
  // Setup our Flash Filesystem
  setup_disk();
  k_sleep(K_SECONDS(1));
  #ifdef CONFIG_DEBUG  
  #if CONFIG_DISK_DRIVER_RAW_NAND
    set_read_only(true);
  #endif
  #endif

  #ifdef CONFIG_MSENSE_USB_SECURITY
    security_lock = true;
  #endif


  
  

  gpio0_device = DEVICE_DT_GET(DT_NODELABEL(gpio0));
  gpio1_device = DEVICE_DT_GET(DT_NODELABEL(gpio1));
  
  int ret;
  // Initialize our 2 LED pins and 5V PPG Power Pin
  ret = gpio_pin_configure(gpio0_device, LED_PIN, GPIO_OUTPUT_INACTIVE | LED_FLAGS);
  ret = gpio_pin_configure(gpio0_device, LED1_PIN, GPIO_OUTPUT_INACTIVE | LED_FLAGS);
  ret = gpio_pin_configure(gpio1_device, PPG_POWER_PIN, GPIO_OUTPUT_ACTIVE | PPG_POWER_FLAGS);
  // initialize imu ground pin
  ret = gpio_pin_configure(gpio0_device, 27, GPIO_OUTPUT_INACTIVE);
  if (ret < 0)
  {
    printk("Error: Can't initialize LED");
    // return;
  }
  
  // Init, verify ID and config sensors
  
  spi_init();
  spi_verify_sensor_ids();

  i2c_init();

  // Shutdown our ppg and imu sensors until we need to get data from them
  ppg_sleep();
  motion_sleep();

  /*struct k_work_queue_config cfg = {
    .name = "my_custom_workq",
    .no_yield = false
  };*/

  // Start Threads for all our sensor tasks
  // This is the file system workqueue (workqueues are threads that process items in a queue), it processes uploading files to the filesystem. 
  k_work_queue_init(&my_work_q);
  k_work_queue_start(&my_work_q, my_stack_area,
                     K_THREAD_STACK_SIZEOF(my_stack_area), WORKQUEUE_PRIORITY, NULL);
  // Handles reading from the motion sensor and ppg sensor. This is the system workqueue, which zephyr creates by default
  // and is a different queue from the user created file system workqueue 
  k_work_init(&my_motionSensor.work, motion_data_timeout_handler);
  k_work_init(&my_ppgSensor.work, read_ppg_fifo_buffer);
  // sends enmo and accelerometer
  k_work_init(&my_motionData.work, motion_notify);
#ifdef CONFIG_MSENSE3_BLUETOOTH_DATA_UPDATES
  // These items all handle sending data across bluetooth

  k_work_init(&my_ppgDataSensor.work, ppgData_notify);
#endif

  // these are our file system workqueue objects
  k_work_init(&ppg_work_item.work, work_write);
  ppg_work_item.sensor = ppg;

  k_work_init(&accel_work_item.work, work_write);
  accel_work_item.sensor = accelorometer;
  
  k_work_init(&log_work_item.work, work_write);
  log_work_item.sensor = customlog;
  k_thread_name_set(&my_work_q.thread, "file_sys");
  const char *name = k_thread_name_get(&my_work_q.thread);
  LOG_INF("file workqueue thead: %s", name);
  if (identity_err == 0) {
    ble_init();
  } else {
    LOG_ERR("BLE advertising disabled because device identity is unavailable");
  }
  
  get_storage_percent_full();
  
  
  // we set global update at 9 so that when we are entering the while loop, we will check the storage & battery.
  int global_update = 9;
  int update_time = SLEEP_TIME_MS;
  
  
  while (1)
  {
    
    //printk("%d %d\n", connectedFlag, collecting_data);

    global_update++;
    if (global_update >= 100){
      global_update = 0;
    }

    if (global_update % 5 == 0){
      uint64_t current_time_value = get_current_unix_time();
      LOG_INF("status update, time %llu", current_time_value);
      LOG_INF("connected: %d, collecting: %d", connectedFlag, collecting_data);
      battery_maintenance();
      print_flash_status_info();
      
    }

    if (!connectedFlag){
    // blink the LED while we aren't connected.
      blink_led(LED_PIN);
    }
    else {
      // When Connected, LED instead only blinks once every 10 cycles
      if (global_update % 10 == 0){
        blink_led(LED_PIN);
      }
    }
      
    
    if (collecting_data){
        blink_led(LED1_PIN);
    }

    k_msleep(update_time);
    
  }
  return 0;
}
```

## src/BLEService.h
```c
#ifndef BLESERVICE_H_
#define BLESERVICE_H_
#include <zephyr/types.h>
#include <sys/types.h>
#include "common.h"
#include <zephyr/bluetooth/bluetooth.h>


extern uint8_t gyro_first_read;
 
extern uint8_t ppg_read;


extern bool connectedFlag;
extern bool collecting_data;
extern bool host_wants_collection;
extern bool battery_low;
extern bool file_system_full;
extern bool file_system_malfunction;
extern bool battery_charging;



#define PPG_DATA_LEN 18
#define PPG_DATA_UNFILTER_LEN 12
#define ACC_GYRO_DATA_LEN 20
#define ENMO_DATA_LEN 8
#define CONFIG_RX_DATA_LEN 6
#define PPGQUALITY_DATA_LEN 4
#define ACCQUALITY_DATA_LEN 4




// BLE CONFIG COMMAND
#define BLE_CONFIG_SENSOR_ENABLE 0x00
#define BLE_CONFIG_GYRO_SENSITIVITY 0x01
#define BLE_CONFIG_ACC_SENSITIVITY 0x02
#define BLE_CONFIG_LED_INTENSITY_GREEN 0x03
#define BLE_CONFIG_LED_INTENSITY_IR 0x04
#define BLE_CONFIG_SAMPLING_RATE_ACC 0x05
#define BLE_CONFIG_SAMPLING_RATE_PPG 0x06

// BLE CONFIG DATA
#define IMU_ENABLE 0x02
#define MOTION_BLE_ENABLE 0x02

#define PPG_ENABLE 0x01
#define PPG_BLE_ENABLE 0x01

#define GYRO_250_DPS 0x00
#define GYRO_500_DPS 0x01
#define GYRO_1000_DPS 0x02
#define GYRO_2000_DPS 0x03
#define ACC_2G 0x00
#define ACC_4G 0x01
#define ACC_8G 0x02
#define ACC_16G 0x03
#define MOTION_200_FS 0x00
#define MOTION_100_FS 0x01
#define MOTION_50_FS 0x02
#define MOTION_25_FS 0x03
#define PPG_200_FS 0x01
#define PPG_100_FS 0x02
#define PPG_50_FS 0x03
#define PPG_25_FS 0x04

// Legacy config/status encoding aliases for the fixed-cadence design.
// The on-wire status values reuse former labels; motion integrates at 512 Hz
// and emits 32 Hz records, and PPG is 512 sps with 2-sample averaging.
#define MOTION_FIXED_32HZ_STATUS MOTION_25_FS
#define PPG_FIXED_256HZ_STATUS (PPG_50_FS << 4)

// Main Service UUID 
#define CONTROL_SERVICE_UUID  0x1F, 0x35, 0xBD, 0x4B, 0xAE, 0xD0, 0x68, 0x9C, \
  0xE2, 0x48, 0x81, 0x1D, 0x30, 0xC9, 0x39, 0xDA    

#define UPDATE3_SERVICE_UUID  0x1F, 0x35, 0xBD, 0x4B, 0xAE, 0xD0, 0x68, 0x9C, \
  0xE2, 0x48, 0x81, 0x1D, 0x20, 0xC9, 0x39, 0xDA 

// Configuration characteristic UUID
#define RX_CHARACTERISTIC_UUID  0x1F, 0x35, 0xBD, 0x4B, 0xAE, 0xD0, 0x68, 0x9C, \
  0xE2, 0x48, 0x81, 0x1D, 0x21, 0xC9, 0x39, 0xDA       
    
	
// PPG data characteristic UUID
#define PPG_TX_CHARACTERISTIC_UUID  0x1F, 0x35, 0xBD, 0x4B, 0xAE, 0xD0, 0x68, 0x9C, \
  0xE2, 0x48, 0x81, 0x1D, 0x23, 0xC9, 0x39, 0xDA         
                                           
// Acc and Gyro data characteristic UUID
#define ACC_GRYO_TX_CHARACTERISTIC_UUID  0x1F, 0x35, 0xBD, 0x4B, 0xAE, 0xD0, 0x68, 0x9C, \
  0xE2, 0x48, 0x81, 0x1D, 0x24, 0xC9, 0x39, 0xDA   

   
// PPG Singal quality descriptor characteristic UUID
#define PPG_QUALITY_CHARACTERISTIC_UUID  0x1F, 0x35, 0xBD, 0x4B, 0xAE, 0xD0, 0x68, 0x9C, \
  0xE2, 0x48, 0x81, 0x1D, 0x27, 0xC9, 0x39, 0xDA   


// Acc Singal quality descriptor characteristic UUID
#define ACC_QUALITY_CHARACTERISTIC_UUID  0x1F, 0x35, 0xBD, 0x4B, 0xAE, 0xD0, 0x68, 0x9C, \
  0xE2, 0x48, 0x81, 0x1D, 0x28, 0xC9, 0x39, 0xDA   

#define WRITE_ENABLE_CHARACTERISTIC_UUID 0x1F, 0x35, 0xBD, 0x4B, 0xAE, 0xD0, 0x68, 0x9C, \
  0xE2, 0x48, 0x81, 0x1D, 0x31, 0xC9, 0x39, 0xDA

#define WRITE_DATE_CHARACTERISTIC_UUID 0x1F, 0x35, 0xBD, 0x4B, 0xAE, 0xD0, 0x68, 0x9C, \
  0xE2, 0x48, 0x81, 0x1D, 0x32, 0xC9, 0x39, 0xDA

#define WRITE_PATIENT_CHARACTERISTIC_UUID 0x1F, 0x35, 0xBD, 0x4B, 0xAE, 0xD0, 0x68, 0x9C, \
  0xE2, 0x48, 0x81, 0x1D, 0x33, 0xC9, 0x39, 0xDA

#define WRITE_RESET_CHARACTERISTIC_UUID 0x1F, 0x35, 0xBD, 0x4B, 0xAE, 0xD0, 0x68, 0x9C, \
  0xE2, 0x48, 0x81, 0x1D, 0x34, 0xC9, 0x39, 0xDA

#define WRITE_DEVICE_NAME_CHARACTERISTIC_UUID 0x1F, 0x35, 0xBD, 0x4B, 0xAE, 0xD0, 0x68, 0x9C, \
  0xE2, 0x48, 0x81, 0x1D, 0x35, 0xC9, 0x39, 0xDA

#define STATUS_SERVICE_UUID 0x1F, 0x35, 0xBD, 0x4B, 0xAE, 0xD0, 0x68, 0x9C, \
  0xE2, 0x48, 0x81, 0x1D, 0x40, 0xC9, 0x39, 0xDA

#define READ_STORAGE_LEFT_UUID 0x1F, 0x35, 0xBD, 0x4B, 0xAE, 0xD0, 0x68, 0x9C, \
  0xE2, 0x48, 0x81, 0x1D, 0x41, 0xC9, 0x39, 0xDA

#define READ_STATUS_REGISTER_UUID 0x1F, 0x35, 0xBD, 0x4B, 0xAE, 0xD0, 0x68, 0x9C, \
  0xE2, 0x48, 0x81, 0x1D, 0x42, 0xC9, 0x39, 0xDA

#define READ_UPTIME_UUID 0x1F, 0x35, 0xBD, 0x4B, 0xAE, 0xD0, 0x68, 0x9C, \
  0xE2, 0x48, 0x81, 0x1D, 0x43, 0xC9, 0x39, 0xDA

#define UPDATE_SERVICE_UUID 0x1F, 0x35, 0xBD, 0x4B, 0xAE, 0xD0, 0x68, 0x9C, \
  0xE2, 0x48, 0x81, 0x1D, 0x50, 0xC9, 0x39, 0xDA

#define NOTIFY_ENMO_CHARACTERISTIC_UUID 0x1F, 0x35, 0xBD, 0x4B, 0xAE, 0xD0, 0x68, 0x9C, \
  0xE2, 0x48, 0x81, 0x1D, 0x51, 0xC9, 0x39, 0xDA

#define NOTIFY_ENMOTHRESHOLD_CHARACTERISTIC_UUID 0x1F, 0x35, 0xBD, 0x4B, 0xAE, 0xD0, 0x68, 0x9C, \
  0xE2, 0x48, 0x81, 0x1D, 0x52, 0xC9, 0x39, 0xDA



/** @brief Callback type for when new data is received. */
typedef void (*data_rx_cb_t)(uint8_t *data, uint8_t length);



struct bleDataPacket {
    struct k_work work;
    uint8_t *dataPacket;
    uint8_t packetLength;
}; 

extern struct bleDataPacket my_motionData;  

void connected(struct bt_conn *conn, uint8_t err);
void disconnected(struct bt_conn *conn, uint8_t reason);






void enmo_threshold_send(uint8_t* data, uint8_t len);
int general_ble_notification(uint8_t* data, uint8_t len, int service, int characteristic);
void status_reg_ble_notification();


void motion_notify(struct k_work *item);
int storage_ble_notification(uint8_t* data, uint8_t len);

void ppgData_notify(struct k_work *item);


void start_stop_device_collection(uint8_t val);
void reset_device(bool reset_bad_blocks);
void ppg_enter_ship_mode(void);

#ifdef CONFIG_MSENSE3_BLUETOOTH_DATA_UPDATES
void ppg_send(struct bt_conn *conn, const uint8_t *data, uint16_t len);
void acc_send(struct bt_conn *conn, const uint8_t *data, uint16_t len);
static ssize_t read_ppg_quality(struct bt_conn *,const struct bt_gatt_attr *, void *, uint16_t , uint16_t );
static ssize_t read_acc_quality(struct bt_conn *,const struct bt_gatt_attr *, void *, uint16_t , uint16_t );
#endif
 #endif
```

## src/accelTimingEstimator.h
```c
#ifndef ACCEL_TIMING_ESTIMATOR_H_
#define ACCEL_TIMING_ESTIMATOR_H_

#include <stdbool.h>
#include <stdint.h>

#define ACCEL_TIMING_ESTIMATOR_WINDOW 32U

struct accel_timing_observation {
	uint64_t sample_sequence;
	uint32_t rtc_ticks;
};

struct accel_timing_estimator {
	struct accel_timing_observation observations[ACCEL_TIMING_ESTIMATOR_WINDOW];
	uint8_t count;
	uint64_t period_q32;
};

void accel_timing_estimator_reset(struct accel_timing_estimator *estimator);
int accel_timing_estimator_observe(
	struct accel_timing_estimator *estimator,
	const struct accel_timing_observation *observation);
bool accel_timing_estimator_ready(const struct accel_timing_estimator *estimator);
int accel_timing_estimator_estimate(
	const struct accel_timing_estimator *estimator, uint64_t sample_sequence,
	uint32_t *estimated_rtc_ticks, uint32_t *estimated_error_q16_ticks);

#endif /* ACCEL_TIMING_ESTIMATOR_H_ */
```
